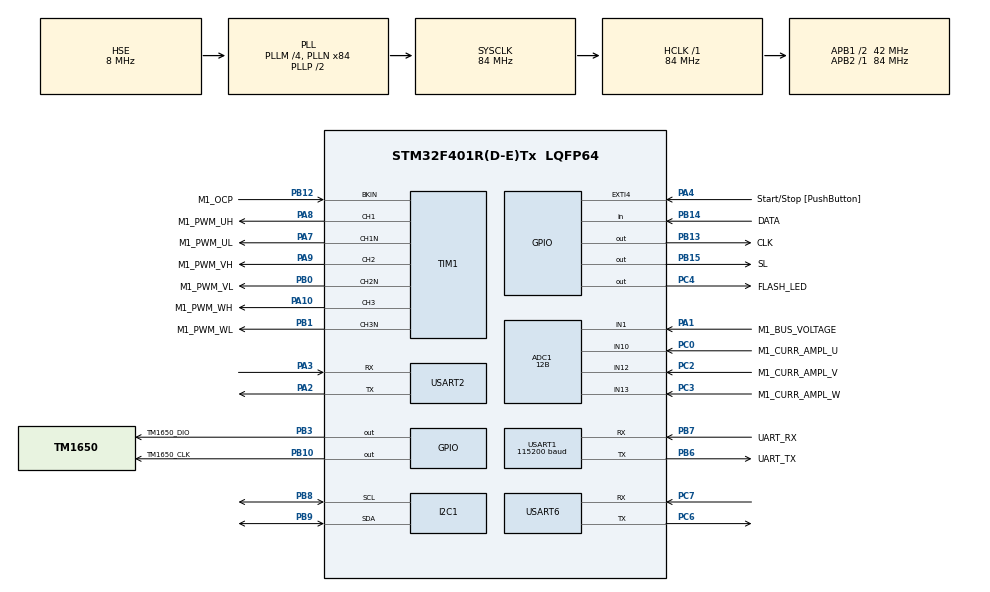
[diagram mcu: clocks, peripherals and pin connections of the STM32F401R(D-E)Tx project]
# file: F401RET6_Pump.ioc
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ADC1.Channel-1\#ChannelInjectedConversion=ADC_CHANNEL_10
ADC1.Channel-1\#ChannelRegularConversion=ADC_CHANNEL_1
ADC1.Channel-2\#ChannelInjectedConversion=ADC_CHANNEL_12
ADC1.Channel-3\#ChannelInjectedConversion=ADC_CHANNEL_13
ADC1.ClockPrescaler=ADC_CLOCK_SYNC_PCLK_DIV4
ADC1.ContinuousConvMode=DISABLE
ADC1.DMAContinuousRequests=DISABLE
ADC1.DataAlign=ADC_DATAALIGN_LEFT
ADC1.DiscontinuousConvMode=DISABLE
ADC1.EOCSelection=ADC_EOC_SINGLE_CONV
ADC1.EnableAnalogWatchDog=false
ADC1.EnableInjectedConversion=ENABLE
ADC1.EnableRegularConversion=ENABLE
ADC1.ExternalTrigConv=ADC_SOFTWARE_START
ADC1.ExternalTrigConvEdge=ADC_EXTERNALTRIGCONVEDGE_NONE
ADC1.ExternalTrigInjecConv=ADC_EXTERNALTRIGINJECCONV_T1_CC4
ADC1.ExternalTrigInjecConvEdge=ADC_EXTERNALTRIGINJECCONVEDGE_RISING
ADC1.InjNumberOfConversion=3
ADC1.InjectedConvMode=None
ADC1.InjectedOffset-1\#ChannelInjectedConversion=0
ADC1.InjectedOffset-2\#ChannelInjectedConversion=0
ADC1.InjectedOffset-3\#ChannelInjectedConversion=0
ADC1.InjectedRank-1\#ChannelInjectedConversion=1
ADC1.InjectedRank-2\#ChannelInjectedConversion=2
ADC1.InjectedRank-3\#ChannelInjectedConversion=3
ADC1.NbrOfConversion=1
ADC1.NbrOfConversionFlag=1
ADC1.Offset-1\#ChannelRegularConversion=0
ADC1.OffsetNumber-1\#ChannelRegularConversion=ADC_OFFSET_NONE
ADC1.Rank-1\#ChannelRegularConversion=1
ADC1.Resolution=ADC_RESOLUTION_12B
ADC1.SamplingTime-1\#ChannelInjectedConversion=ADC_SAMPLETIME_56CYCLES
ADC1.SamplingTime-1\#ChannelRegularConversion=ADC_SAMPLETIME_56CYCLES
ADC1.SamplingTime-2\#ChannelInjectedConversion=ADC_SAMPLETIME_56CYCLES
ADC1.SamplingTime-3\#ChannelInjectedConversion=ADC_SAMPLETIME_56CYCLES
ADC1.ScanConvMode=ENABLE
ADC1.master=1
Dma.Request0=USART1_RX
Dma.Request1=USART1_TX
Dma.USART1_RX.0.Direction=DMA_PERIPH_TO_MEMORY
Dma.USART1_RX.0.FIFOMode=DMA_FIFOMODE_DISABLE
Dma.USART1_RX.0.Instance=DMA2_Stream2
Dma.USART1_RX.0.MemDataAlignment=DMA_MDATAALIGN_BYTE
Dma.USART1_RX.0.MemInc=DMA_MINC_ENABLE
Dma.USART1_RX.0.Mode=DMA_NORMAL
Dma.USART1_RX.0.PeriphDataAlignment=DMA_PDATAALIGN_BYTE
Dma.USART1_RX.0.PeriphInc=DMA_PINC_DISABLE
Dma.USART1_RX.0.Priority=DMA_PRIORITY_LOW
Dma.USART1_TX.1.Direction=DMA_MEMORY_TO_PERIPH
Dma.USART1_TX.1.FIFOMode=DMA_FIFOMODE_DISABLE
Dma.USART1_TX.1.Instance=DMA2_Stream7
Dma.USART1_TX.1.MemDataAlignment=DMA_MDATAALIGN_BYTE
Dma.USART1_TX.1.MemInc=DMA_MINC_ENABLE
Dma.USART1_TX.1.Mode=DMA_NORMAL
Dma.USART1_TX.1.PeriphDataAlignment=DMA_PDATAALIGN_BYTE
Dma.USART1_TX.1.PeriphInc=DMA_PINC_DISABLE
Dma.USART1_TX.1.Priority=DMA_PRIORITY_LOW
ExtraMW=MotorControl
ExtraMW.MotorControl.Config=MotorControl
ExtraMW.MotorControl.Mode=MotorControl
ExtraMW.MotorControl.Root=MCSDK_v5.Y.4-Full/MotorControl
ExtraMW.MotorControl.Template=templates
FREERTOS.Mutexes01=my74HCMutex,Static,myMutex01ControlBlock
FREERTOS.Tasks01=mediumFrequency,0,128,startMediumFrequencyTask,As weak,NULL,Dynamic,NULL,NULL;safety,1,128,StartSafetyTask,As external,NULL,Dynamic,NULL,NULL;heartTask,-1,128,heartTaskEntry,Default,NULL,Static,heartTaskBuffer,heartTaskControlBlock;halTask,-1,128,halTaskEntry,Default,NULL,Static,halTaskBuffer,halTaskControlBlock
Mcu.Family=STM32F4
Mcu.Name=STM32F401R(D-E)Tx
Mcu.Package=LQFP64
MotorControl.ADC_1_PERIPH=ADC1
MotorControl.ADC_2_PERIPH=ADC2
MotorControl.ADC_AHBPERIPH=RCC_AHBPeriph_ADC12
MotorControl.ADC_CLOCK_WB_DIV=1
MotorControl.ADC_CLOCK_WB_FREQ=12
MotorControl.ADC_PERIPH=ADC1
MotorControl.ADC_REFERENCE_VOLTAGE=3.30
MotorControl.ALIGNMENT_ANGLE_DEG=90
MotorControl.ALIGNMENT_DURATION=700
MotorControl.AMPLIFICATION_GAIN=6.00
MotorControl.ANGC={0,0,0,0,0,0,0,0}
MotorControl.BEMF_CONSISTENCY_GAIN=64
MotorControl.BEMF_CONSISTENCY_TOL=64
MotorControl.BKIN1_FILTER=0
MotorControl.BKIN2_FILTER=0
MotorControl.BKIN2_MODE=NONE
MotorControl.BKIN_MODE=EXT_MODE
MotorControl.BOARD=CUSTOM
MotorControl.BRKIN2_GPIO_AF=GPIO_AF_2
MotorControl.BRKIN_GPIO_AF=GPIO_AF_1
MotorControl.BUS_VOLTAGE_READING=true
MotorControl.CCMRAM_ENABLED=false
MotorControl.CLOCK_FREQUENCY=CPU_CLK_84_MHZ
MotorControl.CLOCK_SOURCE=EXTERNAL
MotorControl.CONSTANT1_D=233339
MotorControl.CONSTANT1_Q=233339
MotorControl.CONSTANT2_QD=51888
MotorControl.CORD_BEMF_CONSISTENCY_GAIN=64
MotorControl.CORD_BEMF_CONSISTENCY_TOL=64
MotorControl.CORD_F1=16384
MotorControl.CORD_F2=4096
MotorControl.CORD_FIFO_DEPTH_01HZ=64
MotorControl.CORD_FIFO_DEPTH_DPP=64
MotorControl.CORD_GAIN1=-24387
MotorControl.CORD_GAIN2=18044
MotorControl.CORD_MAX_ACCEL_DPPP=45
MotorControl.CORD_MEAS_ERRORS_BEFORE_FAULTS=5
MotorControl.CORD_VARIANCE_THRESHOLD=4
MotorControl.CPU_CLK_84_MHZ=true
MotorControl.CTRBDID=0
MotorControl.CUBE_MX_VER=6.7.0
MotorControl.CURRENT_READING_TOPOLOGY=THREE_SHUNT
MotorControl.CURR_SAMPLING_TIME=56
MotorControl.DAC_EMULATED=false
MotorControl.DAC_FUNCTIONALITY=false
MotorControl.DAC_TIMER_CH1_GPIO_PIN=LL_GPIO_PIN_0
MotorControl.DAC_TIMER_CH1_GPIO_PORT=GPIOA
MotorControl.DAC_TIMER_CH2_GPIO_PIN=LL_GPIO_PIN_0
MotorControl.DAC_TIMER_CH2_GPIO_PORT=GPIOA
MotorControl.DAC_TIMER_SELECTION=TIM3
MotorControl.DC_CURRENT_RS_MEAS=11.00
MotorControl.DEBUG_DAC_CH1=false
MotorControl.DEBUG_DAC_CH2=false
MotorControl.DEFAULT_CONTROL_MODE=STC_SPEED_MODE
MotorControl.DEFAULT_DAC_CHANNEL_1=MC_PROTOCOL_REG_I_A
MotorControl.DEFAULT_DAC_CHANNEL_2=MC_PROTOCOL_REG_I_B
MotorControl.DEFAULT_DAC_MOTOR=0
MotorControl.DEFAULT_FLUX_COMPONENT=0
MotorControl.DEFAULT_TARGET_SPEED_RPM=1500
MotorControl.DEFAULT_TORQUE_COMPONENT=0
MotorControl.DISCONTINUOUS_PWM=false
MotorControl.DISSIPATIVE_BRAKE_POLARITY=DOUT_ACTIVE_HIGH
MotorControl.DRIVES_NUMBER_SELECTION=SINGLEDRIVE
MotorControl.EMERGENCY2_STOP_GPIO_PIN=LL_GPIO_PIN_12
MotorControl.EMERGENCY2_STOP_GPIO_PORT=GPIOB
MotorControl.EMERGENCY_STOP_GPIO_PIN=LL_GPIO_PIN_12
MotorControl.EMERGENCY_STOP_GPIO_PORT=GPIOB
MotorControl.ENABLE_SL_ALGO_FROM_PHASE=3
MotorControl.ENCODER_AVAILABLE=false
MotorControl.ENCODER_PPR=400
MotorControl.ENC_AVERAGING_FIFO_DEPTH=16
MotorControl.ENC_A_GPIO_PIN=LL_GPIO_PIN_0
MotorControl.ENC_A_GPIO_PORT=GPIOA
MotorControl.ENC_B_GPIO_PIN=LL_GPIO_PIN_3
MotorControl.ENC_B_GPIO_PORT=GPIOB
MotorControl.ENC_ICx_FILTER=59
MotorControl.ENC_INVERT_SPEED=false
MotorControl.ENC_MEAS_ERRORS_BEFORE_FAULTS=5
MotorControl.ENC_TIMER_REMAPPING=NO_REMAP_TIM2
MotorControl.ENC_TIMER_SELECTION=ENC_TIM2
MotorControl.ENC_USE_CH3=false
MotorControl.EXT_CLK_8_MHZ=true
MotorControl.EXT_CLOCK_FREQUENCY=EXT_CLK_8_MHZ
MotorControl.F1=16384
MotorControl.F2=4096
MotorControl.FEEDBACK_NET_FILTERING=false
MotorControl.FEED_FORWARD_CURRENT_REG_ENABLING=false
MotorControl.FINAL_I_ALIGNMENT=4646
MotorControl.FLUX_WEAKENING_ENABLING=false
MotorControl.FW_KIDIV=32768
MotorControl.FW_KI_GAIN=5000
MotorControl.FW_KPDIV=32768
MotorControl.FW_KP_GAIN=3000
MotorControl.FW_VOLTAGE_REF=985
MotorControl.GAIN1=-24387
MotorControl.GAIN2=18044
MotorControl.H1_GPIO_PIN=LL_GPIO_PIN_0
MotorControl.H1_GPIO_PORT=GPIOA
MotorControl.H2_GPIO_PIN=LL_GPIO_PIN_3
MotorControl.H2_GPIO_PORT=GPIOB
MotorControl.H3_GPIO_PIN=LL_GPIO_PIN_10
MotorControl.H3_GPIO_PORT=GPIOB
MotorControl.HALL_AVERAGING_FIFO_DEPTH=6
MotorControl.HALL_ICx_FILTER=109
MotorControl.HALL_MEAS_ERRORS_BEFORE_FAULTS=5
MotorControl.HALL_MTPA=false
MotorControl.HALL_PHASE_SHIFT=300
MotorControl.HALL_SENSORS_AVAILABLE=false
MotorControl.HALL_SENSORS_PLACEMENT=DEGREES_120
MotorControl.HALL_TIMER_REMAPPING=NO_REMAP_TIM2
MotorControl.HALL_TIMER_SELECTION=HALL_TIM2
MotorControl.HFI_AMPLITUDE=25
MotorControl.HFI_DC_0_COEFF=0.00146
MotorControl.HFI_DC_1_COEFF=0.002921
MotorControl.HFI_DC_2_COEFF=0.00146
MotorControl.HFI_DC_3_COEFF=1.889033
MotorControl.HFI_DC_4_COEFF=-0.894874
MotorControl.HFI_DEBUG_MODE=false
MotorControl.HFI_FREQUENCY=400
MotorControl.HFI_HIFRAMPLSCAN=25
MotorControl.HFI_HP_ID_0_COEFF=0.925191
MotorControl.HFI_HP_ID_1_COEFF=-1.850383
MotorControl.HFI_HP_ID_2_COEFF=0.925191
MotorControl.HFI_HP_ID_3_COEFF=1.844778
MotorControl.HFI_HP_ID_4_COEFF=-0.855987
MotorControl.HFI_IDH_DELAY=32400
MotorControl.HFI_LOCKFREQ=41
MotorControl.HFI_LP_ID_0_COEFF=0.009086
MotorControl.HFI_LP_ID_1_COEFF=0.018172
MotorControl.HFI_LP_ID_2_COEFF=0.009086
MotorControl.HFI_LP_ID_3_COEFF=1.712838
MotorControl.HFI_LP_ID_4_COEFF=-0.749181
MotorControl.HFI_MAXANGLEDIFF=3640
MotorControl.HFI_MINIMUM_SPEED_RPM=402
MotorControl.HFI_NOTCH_IQD_0_COEFF=0.962363
MotorControl.HFI_NOTCH_IQD_1_COEFF=-1.90103
MotorControl.HFI_NOTCH_IQD_2_COEFF=0.962363
MotorControl.HFI_NOTCH_IQD_3_COEFF=1.90103
MotorControl.HFI_NOTCH_IQD_4_COEFF=-0.924727
MotorControl.HFI_NSDETPOINTSSKIP=10
MotorControl.HFI_NSMAXDETPOINTS=20
MotorControl.HFI_NS_MIN_SAT_DIFF=0
MotorControl.HFI_PID_KIDIV=32768
MotorControl.HFI_PID_KI_DEFAULT=400
MotorControl.HFI_PID_KPDIV=16384
MotorControl.HFI_PID_KP_DEFAULT=800
MotorControl.HFI_PLL_KI_DEFAULT=0.00400
MotorControl.HFI_PLL_KP_DEFAULT=0.00060
MotorControl.HFI_RESTARTTIMESEC=0.1
MotorControl.HFI_RESTART_RPM_TH=(((HFI_STO_RPM_TH)+(STO_HFI_RPM_TH))/2)
MotorControl.HFI_REVERT_DIRECTION=true
MotorControl.HFI_SCANROTATIONSNO=3
MotorControl.HFI_SPD_BUFFER_DEPTH_01HZ=64
MotorControl.HFI_STEPANGLE=3640
MotorControl.HFI_STO_RPM_TH=OBS_MINIMUM_SPEED_RPM
MotorControl.HFI_WAITAFTERNS2=4
MotorControl.HFI_WAITBEFORESN=6
MotorControl.HFI_WAITSYNCH=20
MotorControl.HFI_WAITTRACK=20
MotorControl.HIGH_SIDE_BRAKE_STATE=false
MotorControl.HIGH_SIDE_IDLE_STATE=false
MotorControl.HW_COMPLEMENTED_LOW_SIDE=false
MotorControl.HW_DEAD_TIME_NS=100
MotorControl.HW_OV_CURRENT_PROT_BYPASS=false
MotorControl.ID_DEMAG=-26213
MotorControl.INRUSH_CURRLIMIT_AT_POWER_ON=true
MotorControl.INRUSH_CURRLIMIT_CHANGE_AFTER_MS=1000
MotorControl.INRUSH_CURRLIMIT_ENABLING=false
MotorControl.INRUSH_CURRLIMIT_GPIO_PIN=LL_GPIO_PIN_4
MotorControl.INRUSH_CURRLIMIT_GPIO_PORT=GPIOE
MotorControl.INRUSH_CURR_LIMITER_POLARITY=DOUT_ACTIVE_HIGH
MotorControl.INTERNAL_OVERCURRENTPROTECTION=false
MotorControl.INTERNAL_OVERVOLTAGEPROTECTION=false
MotorControl.IPs=NVIC,RCC,MotorControl,TIM1,ADC1,USART1,FREERTOS,DMA
MotorControl.IQMAX=26213
MotorControl.LCD_JOYSTICK_FUNCTIONALITY=false
MotorControl.LCD_MODE=LCD_FULL
MotorControl.LDLQ_RATIO=1.000
MotorControl.LOW_SIDE_BRAKE_STATE=false
MotorControl.LOW_SIDE_IDLE_STATE=false
MotorControl.LOW_SIDE_SIGNALS_ENABLING=LS_PWM_TIMER
MotorControl.LS=0.000850
MotorControl.MAX_APPLICATION_SPEED=3000
MotorControl.MAX_MODULATION_81_PER_CENT=true
MotorControl.MAX_MODULATION_INDEX=MAX_MODULATION_81_PER_CENT
MotorControl.MCU=STM32F401RE
MotorControl.MCU_TYPE=STM32F401XX
MotorControl.MC_WORKBENCH_VERSION=5.Y.4.21553
MotorControl.MEAS_ERRORS_BEFORE_FAULTS=5
MotorControl.MIN_APPLICATION_SPEED=0
MotorControl.MOTOR_MAX_SPEED_RPM=3000
MotorControl.MOTOR_TYPE=PMSM
MotorControl.MOTOR_VOLTAGE_CONSTANT=8.0
MotorControl.MTPA_ENABLING=false
MotorControl.NB_CONSECUTIVE_TESTS=6
MotorControl.NOMINAL_BUS_VOLTAGE_V=48
MotorControl.NOMINAL_CURRENT=26213
MotorControl.OBS_MEAS_ERRORS_BEFORE_FAULTS=5
MotorControl.OBS_MINIMUM_SPEED_RPM=700
MotorControl.OCPA_INVERTINGINPUT=COMPX_InvertingInput_VREF
MotorControl.OCPA_INVERTINGINPUT_GPIO_PIN=LL_GPIO_PIN_4
MotorControl.OCPA_INVERTINGINPUT_GPIO_PORT=GPIOA
MotorControl.OCPA_INVERTINGINPUT_MODE=INT_MODE
MotorControl.OCPA_NONINVERTINGINPUT=COMP1_NonInvertingInput_PA1
MotorControl.OCPA_NONINVERTINGINPUT_GPIO_PIN=LL_GPIO_PIN_1
MotorControl.OCPA_NONINVERTINGINPUT_GPIO_PORT=GPIOA
MotorControl.OCPA_OUTPUT=COMP_Output_TIM1BKIN2
MotorControl.OCPA_OUTPUTPOL=COMP_OutputPol_NonInverted
MotorControl.OCPA_OUTPUT_GPIO_AF=GPIO_AF_2
MotorControl.OCPA_OUTPUT_GPIO_PIN=LL_GPIO_PIN_0
MotorControl.OCPA_OUTPUT_GPIO_PORT=GPIOA
MotorControl.OCPA_OUTPUT_MODE=INT_MODE
MotorControl.OCPA_SELECTION=COMP1
MotorControl.OCPB_INVERTINGINPUT=COMPX_InvertingInput_VREF
MotorControl.OCPB_INVERTINGINPUT_GPIO_PIN=LL_GPIO_PIN_4
MotorControl.OCPB_INVERTINGINPUT_GPIO_PORT=GPIOA
MotorControl.OCPB_INVERTINGINPUT_MODE=INT_MODE
MotorControl.OCPB_NONINVERTINGINPUT=COMP2_NonInvertingInput_PA7
MotorControl.OCPB_NONINVERTINGINPUT_GPIO_PIN=LL_GPIO_PIN_7
MotorControl.OCPB_NONINVERTINGINPUT_GPIO_PORT=GPIOA
MotorControl.OCPB_OUTPUT=COMP_Output_TIM1BKIN2
MotorControl.OCPB_OUTPUTPOL=COMP_OutputPol_NonInverted
MotorControl.OCPB_OUTPUT_GPIO_AF=GPIO_AF_2
MotorControl.OCPB_OUTPUT_GPIO_PIN=LL_GPIO_PIN_2
MotorControl.OCPB_OUTPUT_GPIO_PORT=GPIOA
MotorControl.OCPB_OUTPUT_MODE=INT_MODE
MotorControl.OCPB_SELECTION=COMP2
MotorControl.OCPC_INVERTINGINPUT=COMPX_InvertingInput_VREF
MotorControl.OCPC_INVERTINGINPUT_GPIO_PIN=LL_GPIO_PIN_4
MotorControl.OCPC_INVERTINGINPUT_GPIO_PORT=GPIOA
MotorControl.OCPC_INVERTINGINPUT_MODE=INT_MODE
MotorControl.OCPC_NONINVERTINGINPUT=COMP3_NonInvertingInput_PD14
MotorControl.OCPC_NONINVERTINGINPUT_GPIO_PIN=LL_GPIO_PIN_14
MotorControl.OCPC_NONINVERTINGINPUT_GPIO_PORT=GPIOD
MotorControl.OCPC_OUTPUT=COMP_Output_TIM1BKIN2
MotorControl.OCPC_OUTPUTPOL=COMP_OutputPol_NonInverted
MotorControl.OCPC_OUTPUT_GPIO_AF=GPIO_AF_2
MotorControl.OCPC_OUTPUT_GPIO_PIN=LL_GPIO_PIN_8
MotorControl.OCPC_OUTPUT_GPIO_PORT=GPIOC
MotorControl.OCPC_OUTPUT_MODE=INT_MODE
MotorControl.OCPC_SELECTION=COMP3
MotorControl.OCPREF=23830
MotorControl.OCP_COMP_THRESHOLD=1.50
MotorControl.OCP_FILTER=COMP_Mode_HighSpeed
MotorControl.OCP_INVERTINGINPUT=COMPX_InvertingInput_VREF
MotorControl.OCP_INVERTINGINPUT_GPIO_PIN=LL_GPIO_PIN_4
MotorControl.OCP_INVERTINGINPUT_GPIO_PORT=GPIOA
MotorControl.OCP_INVERTINGINPUT_MODE=INT_MODE
MotorControl.OCP_NONINVERTINGINPUT=COMP2_NonInvertingInput_PA7
MotorControl.OCP_NONINVERTINGINPUT_GPIO_PIN=LL_GPIO_PIN_7
MotorControl.OCP_NONINVERTINGINPUT_GPIO_PORT=GPIOA
MotorControl.OCP_OUTPUT=COMP_Output_TIM1BKIN2
MotorControl.OCP_OUTPUTPOL=COMP_OutputPol_NonInverted
MotorControl.OCP_OUTPUT_GPIO_AF=GPIO_AF_2
MotorControl.OCP_OUTPUT_GPIO_PIN=LL_GPIO_PIN_2
MotorControl.OCP_OUTPUT_GPIO_PORT=GPIOA
MotorControl.OCP_OUTPUT_MODE=INT_MODE
MotorControl.OCP_SELECTION=COMP2
MotorControl.OFST={0,0,0,0,0,0,0,0}
MotorControl.ON_OVER_VOLTAGE=TURN_OFF_PWM
MotorControl.OPAMP1_INVERTINGINPUT=OPAMP1_InvertingInput_PGA
MotorControl.OPAMP1_INVERTINGINPUT_GPIO_PIN=LL_GPIO_PIN_3
MotorControl.OPAMP1_INVERTINGINPUT_GPIO_PORT=GPIOA
MotorControl.OPAMP1_INVERTINGINPUT_MODE=INT_MODE
MotorControl.OPAMP1_NONINVERTINGINPUT_PHA=OPAMP1_NonInvertingInput_PA1
MotorControl.OPAMP1_NONINVERTINGINPUT_PHA_GPIO_PIN=LL_GPIO_PIN_1
MotorControl.OPAMP1_NONINVERTINGINPUT_PHA_GPIO_PORT=GPIOA
MotorControl.OPAMP1_NONINVERTINGINPUT_PHB=OPAMP1_NonInvertingInput_PA7
MotorControl.OPAMP1_NONINVERTINGINPUT_PHB_GPIO_PIN=LL_GPIO_PIN_7
MotorControl.OPAMP1_NONINVERTINGINPUT_PHB_GPIO_PORT=GPIOA
MotorControl.OPAMP1_OUT_GPIO_PIN=LL_GPIO_PIN_2
MotorControl.OPAMP1_OUT_GPIO_PORT=GPIOA
MotorControl.OPAMP1_SELECTION=OPAMP1
MotorControl.OPAMP2_INVERTINGINPUT=OPAMP2_InvertingInput_PGA
MotorControl.OPAMP2_INVERTINGINPUT_GPIO_PIN=LL_GPIO_PIN_5
MotorControl.OPAMP2_INVERTINGINPUT_GPIO_PORT=GPIOC
MotorControl.OPAMP2_INVERTINGINPUT_MODE=INT_MODE
MotorControl.OPAMP2_NONINVERTINGINPUT_PHA=OPAMP2_NonInvertingInput_PB14
MotorControl.OPAMP2_NONINVERTINGINPUT_PHA_GPIO_PIN=LL_GPIO_PIN_14
MotorControl.OPAMP2_NONINVERTINGINPUT_PHA_GPIO_PORT=GPIOB
MotorControl.OPAMP2_NONINVERTINGINPUT_PHB=OPAMP2_NonInvertingInput_PA7
MotorControl.OPAMP2_NONINVERTINGINPUT_PHB_GPIO_PIN=LL_GPIO_PIN_7
MotorControl.OPAMP2_NONINVERTINGINPUT_PHB_GPIO_PORT=GPIOA
MotorControl.OPAMP2_NONINVERTINGINPUT_PHC=OPAMP2_NonInvertingInput_PB14
MotorControl.OPAMP2_NONINVERTINGINPUT_PHC_GPIO_PIN=LL_GPIO_PIN_14
MotorControl.OPAMP2_NONINVERTINGINPUT_PHC_GPIO_PORT=GPIOB
MotorControl.OPAMP2_OUT_GPIO_PIN=LL_GPIO_PIN_6
MotorControl.OPAMP2_OUT_GPIO_PORT=GPIOA
MotorControl.OPAMP2_SELECTION=OPAMP2
MotorControl.OPAMP3_INVERTINGINPUT=OPAMP1_InvertingInput_PGA
MotorControl.OPAMP3_INVERTINGINPUT_GPIO_PIN=LL_GPIO_PIN_0
MotorControl.OPAMP3_INVERTINGINPUT_GPIO_PORT=GPIOA
MotorControl.OPAMP3_INVERTINGINPUT_MODE=INT_MODE
MotorControl.OPAMP3_SELECTION=OPAMP1
MotorControl.OPAMP_INVERTINGINPUT=OPAMP1_InvertingInput_PGA
MotorControl.OPAMP_INVERTINGINPUT_GPIO_PIN=LL_GPIO_PIN_3
MotorControl.OPAMP_INVERTINGINPUT_GPIO_PORT=GPIOA
MotorControl.OPAMP_INVERTINGINPUT_MODE=INT_MODE
MotorControl.OPAMP_NONINVERTINGINPUT=OPAMP1_NonInvertingInput_PA7
MotorControl.OPAMP_NONINVERTINGINPUT_GPIO_PIN=LL_GPIO_PIN_7
MotorControl.OPAMP_NONINVERTINGINPUT_GPIO_PORT=GPIOA
MotorControl.OPAMP_OUT_GPIO_PIN=LL_GPIO_PIN_2
MotorControl.OPAMP_OUT_GPIO_PORT=GPIOA
MotorControl.OPAMP_PGACONNECT=OPAMP_PGAConnect_No
MotorControl.OPAMP_PGAGAIN=OPAMP_OPAMP_PGAGain_2
MotorControl.OPAMP_SELECTION=OPAMP1
MotorControl.OPAMP_TYPE_GAIN=INTERNAL
MotorControl.OPEN_LOOP_FOC=false
MotorControl.OPEN_LOOP_K=44
MotorControl.OPEN_LOOP_OFF=4400
MotorControl.OPEN_LOOP_SPEED_RAMP_DURATION_MS=1000
MotorControl.OPEN_LOOP_SPEED_RPM=100
MotorControl.OPEN_LOOP_VF=false
MotorControl.OPEN_LOOP_VOLTAGE_d=6000
MotorControl.OVERCURR_FEEDBACK_POLARITY=EMSTOP_ACTIVE_LOW
MotorControl.OVERCURR_PROTECTION_HW_DISABLING=DOUT_ACTIVE_HIGH
MotorControl.OVERMODULATION=false
MotorControl.OVPREF=23830
MotorControl.OVP_FILTER=COMP_Mode_HighSpeed
MotorControl.OVP_INVERTINGINPUT=COMPX_InvertingInput_VREF
MotorControl.OVP_INVERTINGINPUT_GPIO_PIN=LL_GPIO_PIN_4
MotorControl.OVP_INVERTINGINPUT_GPIO_PORT=GPIOA
MotorControl.OVP_INVERTINGINPUT_MODE=INT_MODE
MotorControl.OVP_NONINVERTINGINPUT=COMP7_NonInvertingInput_PA0
MotorControl.OVP_NONINVERTINGINPUT_GPIO_PIN=LL_GPIO_PIN_0
MotorControl.OVP_NONINVERTINGINPUT_GPIO_PORT=GPIOA
MotorControl.OVP_OUTPUT=COMP_Output_TIM1BKIN
MotorControl.OVP_OUTPUTPOL=COMP_OutputPol_NonInverted
MotorControl.OVP_OUTPUT_GPIO_AF=GPIO_AF_2
MotorControl.OVP_OUTPUT_GPIO_PIN=LL_GPIO_PIN_2
MotorControl.OVP_OUTPUT_GPIO_PORT=GPIOC
MotorControl.OVP_OUTPUT_MODE=INT_MODE
MotorControl.OVP_SELECTION=COMP7
MotorControl.OV_CURR_BYPASS_GPIO_PIN=LL_GPIO_PIN_5
MotorControl.OV_CURR_BYPASS_GPIO_PORT=GPIOE
MotorControl.OV_TEMPERATURE_HYSTERESIS_C=10
MotorControl.OV_TEMPERATURE_PROT_ENABLING=false
MotorControl.OV_TEMPERATURE_THRESHOLD_C=70
MotorControl.OV_VOLTAGE_PROT_ENABLING=true
MotorControl.OV_VOLTAGE_THRESHOLD_V=52
MotorControl.PHASE1_DURATION=0
MotorControl.PHASE1_FINAL_CURRENT=0
MotorControl.PHASE1_FINAL_SPEED_RPM=0
MotorControl.PHASE2_DURATION=1500
MotorControl.PHASE2_FINAL_CURRENT=4766
MotorControl.PHASE2_FINAL_SPEED_RPM=0
MotorControl.PHASE3_DURATION=350
MotorControl.PHASE3_FINAL_CURRENT=4766
MotorControl.PHASE3_FINAL_SPEED_RPM=630
MotorControl.PHASE4_DURATION=1150
MotorControl.PHASE4_FINAL_CURRENT=4766
MotorControl.PHASE4_FINAL_SPEED_RPM=2700
MotorControl.PHASE5_DURATION=0
MotorControl.PHASE5_FINAL_CURRENT=4766
MotorControl.PHASE5_FINAL_SPEED_RPM=2700
MotorControl.PHASE_CURRENTS_ADC=ADC1_2
MotorControl.PHASE_CURRENTS_CHANNEL=ADC_CHANNEL_9
MotorControl.PHASE_CURRENTS_GPIO_PIN=LL_GPIO_PIN_0
MotorControl.PHASE_CURRENTS_GPIO_PORT=GPIOA
MotorControl.PHASE_UH_GPIO_AF=GPIO_AF_6
MotorControl.PHASE_UH_GPIO_PIN=LL_GPIO_PIN_8
MotorControl.PHASE_UH_GPIO_PORT=GPIOA
MotorControl.PHASE_UH_POLARITY=H_ACTIVE_HIGH
MotorControl.PHASE_UL_GPIO_AF=GPIO_AF_1
MotorControl.PHASE_UL_GPIO_PIN=LL_GPIO_PIN_7
MotorControl.PHASE_UL_GPIO_PORT=GPIOA
MotorControl.PHASE_UL_POLARITY=L_ACTIVE_HIGH
MotorControl.PHASE_U_CURR_ADC=ADC1
MotorControl.PHASE_U_CURR_CHANNEL=ADC_CHANNEL_10
MotorControl.PHASE_U_GPIO_PIN=LL_GPIO_PIN_0
MotorControl.PHASE_U_GPIO_PORT=GPIOC
MotorControl.PHASE_VH_GPIO_AF=GPIO_AF_6
MotorControl.PHASE_VH_GPIO_PIN=LL_GPIO_PIN_9
MotorControl.PHASE_VH_GPIO_PORT=GPIOA
MotorControl.PHASE_VH_POLARITY=H_ACTIVE_HIGH
MotorControl.PHASE_VL_GPIO_AF=GPIO_AF_1
MotorControl.PHASE_VL_GPIO_PIN=LL_GPIO_PIN_0
MotorControl.PHASE_VL_GPIO_PORT=GPIOB
MotorControl.PHASE_VL_POLARITY=L_ACTIVE_HIGH
MotorControl.PHASE_V_CURR_ADC=ADC1
MotorControl.PHASE_V_CURR_CHANNEL=ADC_CHANNEL_12
MotorControl.PHASE_V_GPIO_PIN=LL_GPIO_PIN_2
MotorControl.PHASE_V_GPIO_PORT=GPIOC
MotorControl.PHASE_WH_GPIO_AF=GPIO_AF_6
MotorControl.PHASE_WH_GPIO_PIN=LL_GPIO_PIN_10
MotorControl.PHASE_WH_GPIO_PORT=GPIOA
MotorControl.PHASE_WH_POLARITY=H_ACTIVE_HIGH
MotorControl.PHASE_WL_GPIO_AF=GPIO_AF_1
MotorControl.PHASE_WL_GPIO_PIN=LL_GPIO_PIN_1
MotorControl.PHASE_WL_GPIO_PORT=GPIOB
MotorControl.PHASE_WL_POLARITY=L_ACTIVE_HIGH
MotorControl.PHASE_W_CURR_ADC=ADC1
MotorControl.PHASE_W_CURR_CHANNEL=ADC_CHANNEL_13
MotorControl.PHASE_W_GPIO_PIN=LL_GPIO_PIN_3
MotorControl.PHASE_W_GPIO_PORT=GPIOC
MotorControl.PID_FLUX_KD_DEFAULT=100
MotorControl.PID_FLUX_KI_DEFAULT=246
MotorControl.PID_FLUX_KP_DEFAULT=3989
MotorControl.PID_SPEED_KD_DEFAULT=0
MotorControl.PID_SPEED_KI_DEFAULT=700
MotorControl.PID_SPEED_KP_DEFAULT=1000
MotorControl.PID_TORQUE_KD_DEFAULT=100
MotorControl.PID_TORQUE_KI_DEFAULT=246
MotorControl.PID_TORQUE_KP_DEFAULT=3989
MotorControl.PLL_KI_GAIN=13
MotorControl.PLL_KP_GAIN=299
MotorControl.POLE_PAIR_NUM=3
MotorControl.POSITION_CTRL_ENABLING=false
MotorControl.PWBDID=0
MotorControl.PWM_FREQUENCY=16000
MotorControl.PWM_TIMER_REMAPPING=PWM_NO_REMAP
MotorControl.PWM_TIMER_SELECTION=PWM_TIM1
MotorControl.REGCONVADC=ADC1
MotorControl.REGULATION_EXECUTION_RATE=1
MotorControl.RS=0.21
MotorControl.RSHUNT=0.02000
MotorControl.RTOS=FREERTOS
MotorControl.RTOS_TIMER=TIM3
MotorControl.RTOS_USE_IRQ=true
MotorControl.R_BRAKE_GPIO_PIN=LL_GPIO_PIN_5
MotorControl.R_BRAKE_GPIO_PORT=GPIOE
MotorControl.R_BRAKE_SWITCH_OFF_THRES_V=42
MotorControl.SEGDIV=0
MotorControl.SERIAL_COMMUNICATION=true
MotorControl.SERIAL_COM_CHANNEL1=MC_PROTOCOL_REG_I_A
MotorControl.SERIAL_COM_CHANNEL2=MC_PROTOCOL_REG_I_A
MotorControl.SERIAL_COM_MODE=COM_BIDIRECTIONAL
MotorControl.SERIAL_COM_MOTOR=0
MotorControl.SHARED_SIGNAL_ENABLE=false
MotorControl.SINGLEDRIVE=true
MotorControl.SPD_DIFFERENTIAL_TERM_ENABLING=false
MotorControl.SPEED_BAND_LOWER_LIMIT=15
MotorControl.SPEED_BAND_UPPER_LIMIT=17
MotorControl.SPEED_FEEDBACK_CHECK=true
MotorControl.SPEED_LOOP_FREQUENCY_HZ=1000
MotorControl.SPEED_SENSOR_SELECTION=STATE_OBSERVER_PLL
MotorControl.SP_KDDIV=16
MotorControl.SP_KIDIV=256
MotorControl.SP_KPDIV=16
MotorControl.STARTING_ANGLE_DEG=90
MotorControl.START_STOP_BTN=true
MotorControl.START_STOP_GPIO_PIN=LL_GPIO_PIN_4
MotorControl.START_STOP_GPIO_PORT=GPIOA
MotorControl.START_STOP_POLARITY=DIN_ACTIVE_LOW
MotorControl.START_STOP_POLARITY_EDGE=GPIO_PULLUP
MotorControl.STATE_OBSERVER_PLL=true
MotorControl.STM32F401XX=true
MotorControl.STO_FIFO_DEPTH_01HZ=64
MotorControl.STO_FIFO_DEPTH_DPP=64
MotorControl.STO_HFI_RPM_TH=460
MotorControl.SW_DEADTIME_NS=800
MotorControl.SW_OV_CURRENT_PROT_ENABLING=true
MotorControl.T0_C=25
MotorControl.TEMPERATURE_READING=false
MotorControl.TEMP_ADC_SAMPLING_TIME=3
MotorControl.TEMP_FDBK_ADC=ADC1
MotorControl.TEMP_FDBK_CHANNEL=ADC_CHANNEL_5
MotorControl.TEMP_FDBK_GPIO_PIN=LL_GPIO_PIN_5
MotorControl.TEMP_FDBK_GPIO_PORT=GPIOA
MotorControl.TFDIFFERENTIAL_TERM_ENABLING=false
MotorControl.TF_KDDIV=8192
MotorControl.TF_KIDIV=16384
MotorControl.TF_KPDIV=4096
MotorControl.THREE_SHUNT=true
MotorControl.TNOISE_NS=2550
MotorControl.TRANSITION_DURATION=25
MotorControl.TRISE_NS=2550
MotorControl.T_MAX=70
MotorControl.UD_VOLTAGE_THRESHOLD_V=45
MotorControl.USART_REMAPPING=NO_REMAP_USART1
MotorControl.USART_RX_GPIO_PIN=LL_GPIO_PIN_7
MotorControl.USART_RX_GPIO_PORT=GPIOB
MotorControl.USART_SELECTION=USE_USART1
MotorControl.USART_SPEED=115200
MotorControl.USART_TX_GPIO_PIN=LL_GPIO_PIN_6
MotorControl.USART_TX_GPIO_PORT=GPIOB
MotorControl.USE_3OPAMPS=false
MotorControl.USE_INTERNAL_OPAMP=false
MotorControl.UV_VOLTAGE_PROT_ENABLING=true
MotorControl.V0_V=0.290
MotorControl.VARIANCE_THRESHOLD=0.1
MotorControl.VBUS_ADC=ADC1
MotorControl.VBUS_ADC_SAMPLING_TIME=56
MotorControl.VBUS_CHANNEL=ADC_CHANNEL_1
MotorControl.VBUS_GPIO_PIN=LL_GPIO_PIN_1
MotorControl.VBUS_GPIO_PORT=GPIOA
MotorControl.VBUS_PARTITIONING_FACTOR=0.0400
MotorControl.WB_to_Mx_template_version=22-01-11
MotorControl.WB_to_Mx_version=1.6.0
MotorControl.dV_dT=0.025
NVIC.ADC_IRQn=true\:2\:0\:true\:true\:false\:3\:false\:true\:true\:true
NVIC.DMA2_Stream2_IRQn=true\:3\:0\:true\:true\:false\:2\:false\:true\:true\:true
NVIC.EXTI4_IRQn=true\:3\:0\:true\:true\:false\:6\:false\:true\:true\:true
NVIC.PriorityGroup=NVIC_PRIORITYGROUP_4
NVIC.TIM1_BRK_TIM9_IRQn=true\:4\:0\:true\:true\:false\:5\:false\:true\:true\:true
NVIC.TIM1_UP_TIM10_IRQn=true\:0\:0\:true\:true\:false\:4\:false\:true\:true\:true
NVIC.TIM3_IRQn=true\:15\:0\:false\:false\:true\:false\:false\:true\:true
NVIC.TimeBase=TIM3_IRQn
NVIC.TimeBaseIP=TIM3
NVIC.USART1_IRQn=true\:3\:0\:true\:true\:false\:1\:false\:true\:true\:true
PA1.GPIO_Label=M1_BUS_VOLTAGE
PA1.Signal=ADCx_IN1
PA10.GPIO_Label=M1_PWM_WH
PA10.GPIO_PuPd=GPIO_PULLDOWN
PA10.GPIO_Speed=GPIO_SPEED_FREQ_HIGH
PA10.Signal=S_TIM1_CH3
PA13.Mode=Serial_Wire
PA13.Signal=SYS_JTMS-SWDIO
PA14.Mode=Serial_Wire
PA14.Signal=SYS_JTCK-SWCLK
PA2.Mode=Asynchronous
PA2.Signal=USART2_TX
PA3.Mode=Asynchronous
PA3.Signal=USART2_RX
PA4.GPIO_Label=Start/Stop [PushButton]
PA4.GPIO_ModeDefaultEXTI=GPIO_MODE_IT_FALLING
PA4.GPIO_PuPd=GPIO_PULLUP
PA4.Signal=GPXTI4
PA7.GPIO_Label=M1_PWM_UL
PA7.GPIO_PuPd=GPIO_PULLDOWN
PA7.GPIO_Speed=GPIO_SPEED_FREQ_HIGH
PA7.Mode=PWM Generation1 CH1 CH1N
PA7.Signal=TIM1_CH1N
PA8.GPIO_Label=M1_PWM_UH
PA8.GPIO_PuPd=GPIO_PULLDOWN
PA8.GPIO_Speed=GPIO_SPEED_FREQ_HIGH
PA8.Signal=S_TIM1_CH1
PA9.GPIO_Label=M1_PWM_VH
PA9.GPIO_PuPd=GPIO_PULLDOWN
PA9.GPIO_Speed=GPIO_SPEED_FREQ_HIGH
PA9.Signal=S_TIM1_CH2
PB0.GPIO_Label=M1_PWM_VL
PB0.GPIO_PuPd=GPIO_PULLDOWN
PB0.GPIO_Speed=GPIO_SPEED_FREQ_HIGH
PB0.Mode=PWM Generation2 CH2 CH2N
PB0.Signal=TIM1_CH2N
PB1.GPIO_Label=M1_PWM_WL
PB1.GPIO_PuPd=GPIO_PULLDOWN
PB1.GPIO_Speed=GPIO_SPEED_FREQ_HIGH
PB1.Mode=PWM Generation3 CH3 CH3N
PB1.Signal=TIM1_CH3N
PB10.GPIO_Label=TM1650_CLK
PB10.GPIO_ModeDefaultOutputPP=GPIO_MODE_OUTPUT_OD
PB10.GPIO_PuPd=GPIO_NOPULL
PB10.Signal=GPIO_Output
PB12.GPIO_Label=M1_OCP
PB12.GPIO_PuPd=GPIO_PULLUP
PB12.Mode=Activate-Break-Input
PB12.Signal=TIM1_BKIN
PB13.GPIO_Label=CLK
PB13.GPIO_ModeDefaultOutputPP=GPIO_MODE_OUTPUT_PP
PB13.GPIO_PuPd=GPIO_NOPULL
PB13.GPIO_Speed=GPIO_SPEED_FREQ_HIGH
PB13.PinState=GPIO_PIN_RESET
PB13.Signal=GPIO_Output
PB14.GPIO_Label=DATA
PB14.GPIO_PuPd=GPIO_PULLUP
PB14.Signal=GPIO_Input
PB15.GPIO_Label=SL
PB15.GPIO_PuPd=GPIO_PULLUP
PB15.Signal=GPIO_Output
PB3.GPIO_Label=TM1650_DIO
PB3.GPIO_ModeDefaultOutputPP=GPIO_MODE_OUTPUT_OD
PB3.GPIO_PuPd=GPIO_NOPULL
PB3.Signal=GPIO_Output
PB6.GPIO_Label=UART_TX
PB6.GPIO_Mode=GPIO_MODE_AF_PP
PB6.GPIO_PuPd=GPIO_NOPULL
PB6.GPIO_Speed=GPIO_SPEED_FREQ_LOW
PB6.Mode=Asynchronous
PB6.Signal=USART1_TX
PB7.GPIO_Label=UART_RX
PB7.GPIO_Mode=GPIO_MODE_AF_PP
PB7.GPIO_PuPd=GPIO_NOPULL
PB7.GPIO_Speed=GPIO_SPEED_FREQ_LOW
PB7.Mode=Asynchronous
PB7.Signal=USART1_RX
PB8.Mode=I2C
PB8.Signal=I2C1_SCL
PB9.Mode=I2C
PB9.Signal=I2C1_SDA
PC0.GPIO_Label=M1_CURR_AMPL_U
PC0.Signal=ADCx_IN10
PC2.GPIO_Label=M1_CURR_AMPL_V
PC2.Signal=ADCx_IN12
PC3.GPIO_Label=M1_CURR_AMPL_W
PC3.Signal=ADCx_IN13
PC4.GPIO_Label=FLASH_LED
PC4.Signal=GPIO_Output
PC6.Mode=Asynchronous
PC6.Signal=USART6_TX
PC7.Mode=Asynchronous
PC7.Signal=USART6_RX
PH0\ -\ OSC_IN.Mode=HSE-External-Oscillator
PH0\ -\ OSC_IN.Signal=RCC_OSC_IN
PH1\ -\ OSC_OUT.Mode=HSE-External-Oscillator
PH1\ -\ OSC_OUT.Signal=RCC_OSC_OUT
ProjectManager.HeapSize=0x200
ProjectManager.StackSize=0x400
ProjectManager.TargetToolchain=MDK-ARM V5
RCC.48MHZClocksFreq_Value=42000000
RCC.AHBFreq_Value=84000000
RCC.APB1CLKDivider=RCC_HCLK_DIV2
RCC.APB1Freq_Value=42000000
RCC.APB1TimFreq_Value=84000000
RCC.APB2Freq_Value=84000000
RCC.APB2TimFreq_Value=84000000
RCC.CortexFreq_Value=84000000
RCC.HCLKFreq_Value=84000000
RCC.HSE_VALUE=8000000
RCC.HSI_VALUE=16000000
RCC.LSE_VALUE=32768
RCC.PLLM=4
RCC.PLLN=84
RCC.PLLSourceVirtual=RCC_PLLSOURCE_HSE
RCC.SYSCLKFreq_VALUE=84000000
RCC.SYSCLKSource=RCC_SYSCLKSOURCE_PLLCLK
RCC.VCOOutputFreq_Value=168000000
SH.ADCx_IN1.0=ADC1_IN1,IN1
SH.ADCx_IN10.0=ADC1_IN10,IN10
SH.ADCx_IN12.0=ADC1_IN12,IN12
SH.ADCx_IN13.0=ADC1_IN13,IN13
SH.S_TIM1_CH1.0=TIM1_CH1,PWM Generation1 CH1 CH1N
SH.S_TIM1_CH2.0=TIM1_CH2,PWM Generation2 CH2 CH2N
SH.S_TIM1_CH3.0=TIM1_CH3,PWM Generation3 CH3 CH3N
TIM1.BreakPolarity=TIM_BREAKPOLARITY_LOW
TIM1.BreakState=TIM_BREAK_ENABLE
TIM1.Channel-PWM\ Generation1\ CH1\ CH1N=TIM_CHANNEL_1
TIM1.Channel-PWM\ Generation2\ CH2\ CH2N=TIM_CHANNEL_2
TIM1.Channel-PWM\ Generation3\ CH3\ CH3N=TIM_CHANNEL_3
TIM1.Channel-PWM\ Generation4\ No\ Output=TIM_CHANNEL_4
TIM1.ClockDivision=TIM_CLOCKDIVISION_DIV2
TIM1.CounterMode=TIM_COUNTERMODE_CENTERALIGNED1
TIM1.DeadTime=((DEAD_TIME_COUNTS) / 2)
TIM1.LockLevel=TIM_LOCKLEVEL_1
TIM1.OCIdleState_1=TIM_OCIDLESTATE_RESET
TIM1.OCIdleState_2=TIM_OCIDLESTATE_RESET
TIM1.OCIdleState_3=TIM_OCIDLESTATE_RESET
TIM1.OCMode_PWM-PWM\ Generation4\ No\ Output=TIM_OCMODE_PWM2
TIM1.OCNIdleState_1=TIM_OCNIDLESTATE_RESET
TIM1.OCNIdleState_2=TIM_OCNIDLESTATE_RESET
TIM1.OCNIdleState_3=TIM_OCNIDLESTATE_RESET
TIM1.OCNPolarity_1=TIM_OCNPOLARITY_HIGH
TIM1.OCNPolarity_2=TIM_OCNPOLARITY_HIGH
TIM1.OCNPolarity_3=TIM_OCNPOLARITY_HIGH
TIM1.OCPolarity_1=TIM_OCPOLARITY_HIGH
TIM1.OCPolarity_2=TIM_OCPOLARITY_HIGH
TIM1.OCPolarity_3=TIM_OCPOLARITY_HIGH
TIM1.OffStateIDLEMode=TIM_OSSI_ENABLE
TIM1.OffStateRunMode=TIM_OSSR_ENABLE
TIM1.Period=((PWM_PERIOD_CYCLES) / 2)
TIM1.Prescaler=((TIM_CLOCK_DIVIDER) - 1)
TIM1.Pulse-PWM\ Generation1\ CH1=((PWM_PERIOD_CYCLES) / 4)
TIM1.Pulse-PWM\ Generation2\ CH2=((PWM_PERIOD_CYCLES) / 4)
TIM1.Pulse-PWM\ Generation3\ CH3=((PWM_PERIOD_CYCLES) / 4)
TIM1.Pulse-PWM\ Generation4\ No\ Output=(((PWM_PERIOD_CYCLES) / 2) - (HTMIN))
TIM1.RepetitionCounter=(REP_COUNTER)
TIM1.TIM_MasterOutputTrigger=TIM_TRGO_RESET
USART1.BaudRate=115200
USART1.VirtualMode=VM_ASYNC
USART1.VirtualMode-Asynchronous=VM_ASYNC
USART1.WordLength=WORDLENGTH_8B
USART2.VirtualMode=VM_ASYNC
USART6.VirtualMode=VM_ASYNC
VP_FREERTOS_VS_CMSIS_V1.Mode=CMSIS_V1
VP_MotorControl_MC_ENABLED.Mode=Enabled
VP_SYS_VS_tim3.Mode=TIM3
VP_TIM1_VS_ClockSourceITR.Mode=TriggerSource_ITR1
VP_TIM1_VS_ControllerModeTrigger.Mode=Trigger Mode
VP_TIM1_VS_no_output4.Mode=PWM Generation4 No Output
board=custom

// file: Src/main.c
/* USER CODE BEGIN Header */
/**
 ******************************************************************************
 * @file           : main.c
 * @brief          : Main program body
 ******************************************************************************
 * @attention
 *
 * Copyright (c) 2023 STMicroelectronics.
 * All rights reserved.
 *
 * This software is licensed under terms that can be found in the LICENSE file
 * in the root directory of this software component.
 * If no LICENSE file comes with this software, it is provided AS-IS.
 *
 ******************************************************************************
 */
/* USER CODE END Header */
#include "main.h"
#include "cmsis_os.h"

/* USER CODE BEGIN Includes */
#include "stdio.h"
#include "hal.h"
#include "version.h"
#include "system.h"
#include "FreeRTOS.h"
/* USER CODE END Includes */

ADC_HandleTypeDef hadc1;

I2C_HandleTypeDef hi2c1;

TIM_HandleTypeDef htim1;

UART_HandleTypeDef huart1;
UART_HandleTypeDef huart2;
UART_HandleTypeDef huart6;
DMA_HandleTypeDef hdma_usart1_rx;
DMA_HandleTypeDef hdma_usart1_tx;

osThreadId mediumFrequencyHandle;
osThreadId safetyHandle;
osThreadId heartTaskHandle;
uint32_t heartTaskBuffer[128];
osStaticThreadDef_t heartTaskControlBlock;
osThreadId halTaskHandle;
uint32_t halTaskBuffer[128];
osStaticThreadDef_t halTaskControlBlock;
osMutexId my74HCMutexHandle;
osStaticMutexDef_t myMutex01ControlBlock;

void SystemClock_Config(void);
static void MX_GPIO_Init(void);
static void MX_DMA_Init(void);
static void MX_ADC1_Init(void);
static void MX_TIM1_Init(void);
static void MX_USART1_UART_Init(void);
static void MX_I2C1_Init(void);
static void MX_USART2_UART_Init(void);
static void MX_USART6_UART_Init(void);
void startMediumFrequencyTask(void const *argument);
extern void StartSafetyTask(void const *argument);
void heartTaskEntry(void const *argument);
void halTaskEntry(void const *argument);

static void MX_NVIC_Init(void);

/* USER CODE BEGIN 0 */
int fputc(int c, FILE *stream) // 重写fputc函数
{
  /*
     huart1是工具生成代码定义的UART1结构体，
     如果以后要使用其他串口打印，只需要把这个结构体改成其他UART结构体�??
 */
  HAL_UART_Transmit(&huart2, (unsigned char *)&c, 1, 1000);
  return 1;
}

uint16_t data = 0;
/* USER CODE END 0 */

int main(void)
{

  /* MCU Configuration--------------------------------------------------------*/

  /* Reset of all peripherals, Initializes the Flash interface and the Systick. */
  HAL_Init();

  /* Configure the system clock */
  SystemClock_Config();

  /* Initialize all configured peripherals */
  MX_GPIO_Init();
  MX_DMA_Init();
  MX_ADC1_Init();
  MX_TIM1_Init();
  MX_USART1_UART_Init();
  MX_MotorControl_Init();
  MX_I2C1_Init();
  MX_USART2_UART_Init();
  MX_USART6_UART_Init();

  /* Initialize interrupts */
  MX_NVIC_Init();
  /* USER CODE BEGIN 2 */
  HalInit();                    // 硬件外设初始化
  QuerySystemInfo();            // 查询系统信息
  UpdateSystemVersion(0, 1, 2); // 更新系统版本
  VariableInit();               // 系统变量初始化

  /* USER CODE END 2 */

  /* Create the mutex(es) */
  /* definition and creation of my74HCMutex */
  osMutexStaticDef(my74HCMutex, &myMutex01ControlBlock);
  my74HCMutexHandle = osMutexCreate(osMutex(my74HCMutex));

  /* Create the thread(s) */
  /* definition and creation of mediumFrequency */
  osThreadDef(mediumFrequency, startMediumFrequencyTask, osPriorityNormal, 0, 128);
  mediumFrequencyHandle = osThreadCreate(osThread(mediumFrequency), NULL);

  /* definition and creation of safety */
  osThreadDef(safety, StartSafetyTask, osPriorityAboveNormal, 0, 128);
  safetyHandle = osThreadCreate(osThread(safety), NULL);

  /* definition and creation of heartTask */
  osThreadStaticDef(heartTask, heartTaskEntry, osPriorityBelowNormal, 0, 128, heartTaskBuffer, &heartTaskControlBlock);
  heartTaskHandle = osThreadCreate(osThread(heartTask), NULL);

  /* definition and creation of halTask */
  osThreadStaticDef(halTask, halTaskEntry, osPriorityBelowNormal, 0, 128, halTaskBuffer, &halTaskControlBlock);
  halTaskHandle = osThreadCreate(osThread(halTask), NULL);

  /* Start scheduler */
  osKernelStart();

  /* We should never get here as control is now taken by the scheduler */
  /* Infinite loop */
  while (1)
  {

  }
}

void SystemClock_Config(void)
{
  RCC_OscInitTypeDef RCC_OscInitStruct = {0};
  RCC_ClkInitTypeDef RCC_ClkInitStruct = {0};

  /** Configure the main internal regulator output voltage
   */
  __HAL_RCC_PWR_CLK_ENABLE();
  __HAL_PWR_VOLTAGESCALING_CONFIG(PWR_REGULATOR_VOLTAGE_SCALE2);

  /** Initializes the RCC Oscillators according to the specified parameters
   * in the RCC_OscInitTypeDef structure.
   */
  RCC_OscInitStruct.OscillatorType = RCC_OSCILLATORTYPE_HSE;
  RCC_OscInitStruct.HSEState = RCC_HSE_ON;
  RCC_OscInitStruct.PLL.PLLState = RCC_PLL_ON;
  RCC_OscInitStruct.PLL.PLLSource = RCC_PLLSOURCE_HSE;
  RCC_OscInitStruct.PLL.PLLM = 4;
  RCC_OscInitStruct.PLL.PLLN = 84;
  RCC_OscInitStruct.PLL.PLLP = RCC_PLLP_DIV2;
  RCC_OscInitStruct.PLL.PLLQ = 4;
  if (HAL_RCC_OscConfig(&RCC_OscInitStruct) != HAL_OK)
  {
    Error_Handler();
  }

  /** Initializes the CPU, AHB and APB buses clocks
   */
  RCC_ClkInitStruct.ClockType = RCC_CLOCKTYPE_HCLK | RCC_CLOCKTYPE_SYSCLK | RCC_CLOCKTYPE_PCLK1 | RCC_CLOCKTYPE_PCLK2;
  RCC_ClkInitStruct.SYSCLKSource = RCC_SYSCLKSOURCE_PLLCLK;
  RCC_ClkInitStruct.AHBCLKDivider = RCC_SYSCLK_DIV1;
  RCC_ClkInitStruct.APB1CLKDivider = RCC_HCLK_DIV2;
  RCC_ClkInitStruct.APB2CLKDivider = RCC_HCLK_DIV1;

  if (HAL_RCC_ClockConfig(&RCC_ClkInitStruct, FLASH_LATENCY_2) != HAL_OK)
  {
    Error_Handler();
  }
}

/**
 * @brief NVIC Configuration.
 * @retval None
 */
static void MX_NVIC_Init(void)
{
  /* USART1_IRQn interrupt configuration */
  HAL_NVIC_SetPriority(USART1_IRQn, 3, 0);
  HAL_NVIC_EnableIRQ(USART1_IRQn);
  /* DMA2_Stream2_IRQn interrupt configuration */
  HAL_NVIC_SetPriority(DMA2_Stream2_IRQn, 3, 0);
  HAL_NVIC_EnableIRQ(DMA2_Stream2_IRQn);
  /* ADC_IRQn interrupt configuration */
  HAL_NVIC_SetPriority(ADC_IRQn, 2, 0);
  HAL_NVIC_EnableIRQ(ADC_IRQn);
  /* TIM1_UP_TIM10_IRQn interrupt configuration */
  HAL_NVIC_SetPriority(TIM1_UP_TIM10_IRQn, 0, 0);
  HAL_NVIC_EnableIRQ(TIM1_UP_TIM10_IRQn);
  /* TIM1_BRK_TIM9_IRQn interrupt configuration */
  HAL_NVIC_SetPriority(TIM1_BRK_TIM9_IRQn, 4, 0);
  HAL_NVIC_EnableIRQ(TIM1_BRK_TIM9_IRQn);
  /* EXTI4_IRQn interrupt configuration */
  HAL_NVIC_SetPriority(EXTI4_IRQn, 3, 0);
  HAL_NVIC_EnableIRQ(EXTI4_IRQn);
}

static void MX_ADC1_Init(void)
{

  ADC_InjectionConfTypeDef sConfigInjected = {0};
  ADC_ChannelConfTypeDef sConfig = {0};

  /** Configure the global features of the ADC (Clock, Resolution, Data Alignment and number of conversion)
   */
  hadc1.Instance = ADC1;
  hadc1.Init.ClockPrescaler = ADC_CLOCK_SYNC_PCLK_DIV4;
  hadc1.Init.Resolution = ADC_RESOLUTION_12B;
  hadc1.Init.ScanConvMode = ENABLE;
  hadc1.Init.ContinuousConvMode = DISABLE;
  hadc1.Init.DiscontinuousConvMode = DISABLE;
  hadc1.Init.ExternalTrigConvEdge = ADC_EXTERNALTRIGCONVEDGE_NONE;
  hadc1.Init.ExternalTrigConv = ADC_SOFTWARE_START;
  hadc1.Init.DataAlign = ADC_DATAALIGN_LEFT;
  hadc1.Init.NbrOfConversion = 1;
  hadc1.Init.DMAContinuousRequests = DISABLE;
  hadc1.Init.EOCSelection = ADC_EOC_SINGLE_CONV;
  if (HAL_ADC_Init(&hadc1) != HAL_OK)
  {
    Error_Handler();
  }

  /** Configures for the selected ADC injected channel its corresponding rank in the sequencer and its sample time
   */
  sConfigInjected.InjectedChannel = ADC_CHANNEL_10;
  sConfigInjected.InjectedRank = 1;
  sConfigInjected.InjectedNbrOfConversion = 3;
  sConfigInjected.InjectedSamplingTime = ADC_SAMPLETIME_56CYCLES;
  sConfigInjected.ExternalTrigInjecConvEdge = ADC_EXTERNALTRIGINJECCONVEDGE_RISING;
  sConfigInjected.ExternalTrigInjecConv = ADC_EXTERNALTRIGINJECCONV_T1_CC4;
  sConfigInjected.AutoInjectedConv = DISABLE;
  sConfigInjected.InjectedDiscontinuousConvMode = DISABLE;
  sConfigInjected.InjectedOffset = 0;
  if (HAL_ADCEx_InjectedConfigChannel(&hadc1, &sConfigInjected) != HAL_OK)
  {
    Error_Handler();
  }

  /** Configures for the selected ADC injected channel its corresponding rank in the sequencer and its sample time
   */
  sConfigInjected.InjectedChannel = ADC_CHANNEL_12;
  sConfigInjected.InjectedRank = 2;
  if (HAL_ADCEx_InjectedConfigChannel(&hadc1, &sConfigInjected) != HAL_OK)
  {
    Error_Handler();
  }

  /** Configures for the selected ADC injected channel its corresponding rank in the sequencer and its sample time
   */
  sConfigInjected.InjectedChannel = ADC_CHANNEL_13;
  sConfigInjected.InjectedRank = 3;
  if (HAL_ADCEx_InjectedConfigChannel(&hadc1, &sConfigInjected) != HAL_OK)
  {
    Error_Handler();
  }

  /** Configure for the selected ADC regular channel its corresponding rank in the sequencer and its sample time.
   */
  sConfig.Channel = ADC_CHANNEL_1;
  sConfig.Rank = 1;
  sConfig.SamplingTime = ADC_SAMPLETIME_56CYCLES;
  sConfig.Offset = 0;

  if (HAL_ADC_ConfigChannel(&hadc1, &sConfig) != HAL_OK)
  {
    Error_Handler();
  }
}

static void MX_I2C1_Init(void)
{

  hi2c1.Instance = I2C1;
  hi2c1.Init.ClockSpeed = 100000;
  hi2c1.Init.DutyCycle = I2C_DUTYCYCLE_2;
  hi2c1.Init.OwnAddress1 = 0;
  hi2c1.Init.AddressingMode = I2C_ADDRESSINGMODE_7BIT;
  hi2c1.Init.DualAddressMode = I2C_DUALADDRESS_DISABLE;
  hi2c1.Init.OwnAddress2 = 0;
  hi2c1.Init.GeneralCallMode = I2C_GENERALCALL_DISABLE;
  hi2c1.Init.NoStretchMode = I2C_NOSTRETCH_DISABLE;
  if (HAL_I2C_Init(&hi2c1) != HAL_OK)
  {
    Error_Handler();
  }
}

static void MX_TIM1_Init(void)
{

  TIM_SlaveConfigTypeDef sSlaveConfig = {0};
  TIM_MasterConfigTypeDef sMasterConfig = {0};
  TIM_OC_InitTypeDef sConfigOC = {0};
  TIM_BreakDeadTimeConfigTypeDef sBreakDeadTimeConfig = {0};

  htim1.Instance = TIM1;
  htim1.Init.Prescaler = ((TIM_CLOCK_DIVIDER)-1);
  htim1.Init.CounterMode = TIM_COUNTERMODE_CENTERALIGNED1;
  htim1.Init.Period = ((PWM_PERIOD_CYCLES) / 2);
  htim1.Init.ClockDivision = TIM_CLOCKDIVISION_DIV2;
  htim1.Init.RepetitionCounter = (REP_COUNTER);
  htim1.Init.AutoReloadPreload = TIM_AUTORELOAD_PRELOAD_DISABLE;
  if (HAL_TIM_Base_Init(&htim1) != HAL_OK)
  {
    Error_Handler();
  }
  if (HAL_TIM_PWM_Init(&htim1) != HAL_OK)
  {
    Error_Handler();
  }
  sSlaveConfig.SlaveMode = TIM_SLAVEMODE_TRIGGER;
  sSlaveConfig.InputTrigger = TIM_TS_ITR1;
  if (HAL_TIM_SlaveConfigSynchro(&htim1, &sSlaveConfig) != HAL_OK)
  {
    Error_Handler();
  }
  sMasterConfig.MasterOutputTrigger = TIM_TRGO_RESET;
  sMasterConfig.MasterSlaveMode = TIM_MASTERSLAVEMODE_DISABLE;
  if (HAL_TIMEx_MasterConfigSynchronization(&htim1, &sMasterConfig) != HAL_OK)
  {
    Error_Handler();
  }
  sConfigOC.OCMode = TIM_OCMODE_PWM1;
  sConfigOC.Pulse = 0;
  sConfigOC.OCPolarity = TIM_OCPOLARITY_HIGH;
  sConfigOC.OCNPolarity = TIM_OCNPOLARITY_HIGH;
  sConfigOC.OCFastMode = TIM_OCFAST_DISABLE;
  sConfigOC.OCIdleState = TIM_OCIDLESTATE_RESET;
  sConfigOC.OCNIdleState = TIM_OCNIDLESTATE_RESET;
  if (HAL_TIM_PWM_ConfigChannel(&htim1, &sConfigOC, TIM_CHANNEL_1) != HAL_OK)
  {
    Error_Handler();
  }
  if (HAL_TIM_PWM_ConfigChannel(&htim1, &sConfigOC, TIM_CHANNEL_2) != HAL_OK)
  {
    Error_Handler();
  }
  if (HAL_TIM_PWM_ConfigChannel(&htim1, &sConfigOC, TIM_CHANNEL_3) != HAL_OK)
  {
    Error_Handler();
  }
  sConfigOC.OCMode = TIM_OCMODE_PWM2;
  sConfigOC.Pulse = (((PWM_PERIOD_CYCLES) / 2) - (HTMIN));
  if (HAL_TIM_PWM_ConfigChannel(&htim1, &sConfigOC, TIM_CHANNEL_4) != HAL_OK)
  {
    Error_Handler();
  }
  sBreakDeadTimeConfig.OffStateRunMode = TIM_OSSR_ENABLE;
  sBreakDeadTimeConfig.OffStateIDLEMode = TIM_OSSI_ENABLE;
  sBreakDeadTimeConfig.LockLevel = TIM_LOCKLEVEL_1;
  sBreakDeadTimeConfig.DeadTime = ((DEAD_TIME_COUNTS) / 2);
  sBreakDeadTimeConfig.BreakState = TIM_BREAK_ENABLE;
  sBreakDeadTimeConfig.BreakPolarity = TIM_BREAKPOLARITY_LOW;
  sBreakDeadTimeConfig.AutomaticOutput = TIM_AUTOMATICOUTPUT_DISABLE;
  if (HAL_TIMEx_ConfigBreakDeadTime(&htim1, &sBreakDeadTimeConfig) != HAL_OK)
  {
    Error_Handler();
  }
  HAL_TIM_MspPostInit(&htim1);
}

static void MX_USART1_UART_Init(void)
{

  huart1.Instance = USART1;
  huart1.Init.BaudRate = 115200;
  huart1.Init.WordLength = UART_WORDLENGTH_8B;
  huart1.Init.StopBits = UART_STOPBITS_1;
  huart1.Init.Parity = UART_PARITY_NONE;
  huart1.Init.Mode = UART_MODE_TX_RX;
  huart1.Init.HwFlowCtl = UART_HWCONTROL_NONE;
  huart1.Init.OverSampling = UART_OVERSAMPLING_16;
  if (HAL_UART_Init(&huart1) != HAL_OK)
  {
    Error_Handler();
  }
}

static void MX_USART2_UART_Init(void)
{

  huart2.Instance = USART2;
  huart2.Init.BaudRate = 115200;
  huart2.Init.WordLength = UART_WORDLENGTH_8B;
  huart2.Init.StopBits = UART_STOPBITS_1;
  huart2.Init.Parity = UART_PARITY_NONE;
  huart2.Init.Mode = UART_MODE_TX_RX;
  huart2.Init.HwFlowCtl = UART_HWCONTROL_NONE;
  huart2.Init.OverSampling = UART_OVERSAMPLING_16;
  if (HAL_UART_Init(&huart2) != HAL_OK)
  {
    Error_Handler();
  }
}

static void MX_USART6_UART_Init(void)
{

  huart6.Instance = USART6;
  huart6.Init.BaudRate = 115200;
  huart6.Init.WordLength = UART_WORDLENGTH_8B;
  huart6.Init.StopBits = UART_STOPBITS_1;
  huart6.Init.Parity = UART_PARITY_NONE;
  huart6.Init.Mode = UART_MODE_TX_RX;
  huart6.Init.HwFlowCtl = UART_HWCONTROL_NONE;
  huart6.Init.OverSampling = UART_OVERSAMPLING_16;
  if (HAL_UART_Init(&huart6) != HAL_OK)
  {
    Error_Handler();
  }
}

static void MX_DMA_Init(void)
{

  /* DMA controller clock enable */
  __HAL_RCC_DMA2_CLK_ENABLE();
}

static void MX_GPIO_Init(void)
{
  GPIO_InitTypeDef GPIO_InitStruct = {0};

  /* GPIO Ports Clock Enable */
  __HAL_RCC_GPIOH_CLK_ENABLE();
  __HAL_RCC_GPIOC_CLK_ENABLE();
  __HAL_RCC_GPIOA_CLK_ENABLE();
  __HAL_RCC_GPIOB_CLK_ENABLE();

  /*Configure GPIO pin Output Level */
  HAL_GPIO_WritePin(FLASH_LED_GPIO_Port, FLASH_LED_Pin, GPIO_PIN_RESET);

  /*Configure GPIO pin Output Level */
  HAL_GPIO_WritePin(GPIOB, TM1650_CLK_Pin | CLK_Pin | SL_Pin | TM1650_DIO_Pin, GPIO_PIN_RESET);

  /*Configure GPIO pin : Start_Stop_Pin */
  GPIO_InitStruct.Pin = Start_Stop_Pin;
  GPIO_InitStruct.Mode = GPIO_MODE_IT_FALLING;
  GPIO_InitStruct.Pull = GPIO_PULLUP;
  HAL_GPIO_Init(Start_Stop_GPIO_Port, &GPIO_InitStruct);

  /*Configure GPIO pin : FLASH_LED_Pin */
  GPIO_InitStruct.Pin = FLASH_LED_Pin;
  GPIO_InitStruct.Mode = GPIO_MODE_OUTPUT_PP;
  GPIO_InitStruct.Pull = GPIO_NOPULL;
  GPIO_InitStruct.Speed = GPIO_SPEED_FREQ_LOW;
  HAL_GPIO_Init(FLASH_LED_GPIO_Port, &GPIO_InitStruct);

  /*Configure GPIO pins : TM1650_CLK_Pin TM1650_DIO_Pin */
  GPIO_InitStruct.Pin = TM1650_CLK_Pin | TM1650_DIO_Pin;
  GPIO_InitStruct.Mode = GPIO_MODE_OUTPUT_OD;
  GPIO_InitStruct.Pull = GPIO_NOPULL;
  GPIO_InitStruct.Speed = GPIO_SPEED_FREQ_LOW;
  HAL_GPIO_Init(GPIOB, &GPIO_InitStruct);

  /*Configure GPIO pin : CLK_Pin */
  GPIO_InitStruct.Pin = CLK_Pin;
  GPIO_InitStruct.Mode = GPIO_MODE_OUTPUT_PP;
  GPIO_InitStruct.Pull = GPIO_NOPULL;
  GPIO_InitStruct.Speed = GPIO_SPEED_FREQ_HIGH;
  HAL_GPIO_Init(CLK_GPIO_Port, &GPIO_InitStruct);

  /*Configure GPIO pin : DATA_Pin */
  GPIO_InitStruct.Pin = DATA_Pin;
  GPIO_InitStruct.Mode = GPIO_MODE_INPUT;
  GPIO_InitStruct.Pull = GPIO_PULLUP;
  HAL_GPIO_Init(DATA_GPIO_Port, &GPIO_InitStruct);

  /*Configure GPIO pin : SL_Pin */
  GPIO_InitStruct.Pin = SL_Pin;
  GPIO_InitStruct.Mode = GPIO_MODE_OUTPUT_PP;
  GPIO_InitStruct.Pull = GPIO_PULLUP;
  GPIO_InitStruct.Speed = GPIO_SPEED_FREQ_LOW;
  HAL_GPIO_Init(SL_GPIO_Port, &GPIO_InitStruct);
}

__weak void startMediumFrequencyTask(void const *argument)
{
  for (;;)
  {
    osDelay(1);
  }
}

void heartTaskEntry(void const *argument)
{
  /* USER CODE BEGIN heartTaskEntry */
  /* Infinite loop */
  for (;;)
  {

    HAL_GPIO_TogglePin(FLASH_LED_GPIO_Port, FLASH_LED_Pin);
    osDelay(1000);
  }
  /* USER CODE END heartTaskEntry */
}

void halTaskEntry(void const *argument)
{
  /* USER CODE BEGIN halTaskEntry */
  /* Infinite loop */
  for (;;)
  {
    UserAppliactionLoop(); // 自定义应用层循环

    osDelay(100);
  }
  /* USER CODE END halTaskEntry */
}

void HAL_TIM_PeriodElapsedCallback(TIM_HandleTypeDef *htim)
{
  if (htim->Instance == TIM3)
  {
    HAL_IncTick();
  }
}

void Error_Handler(void)
{
  __disable_irq();
  while (1)
  {
  }
}
